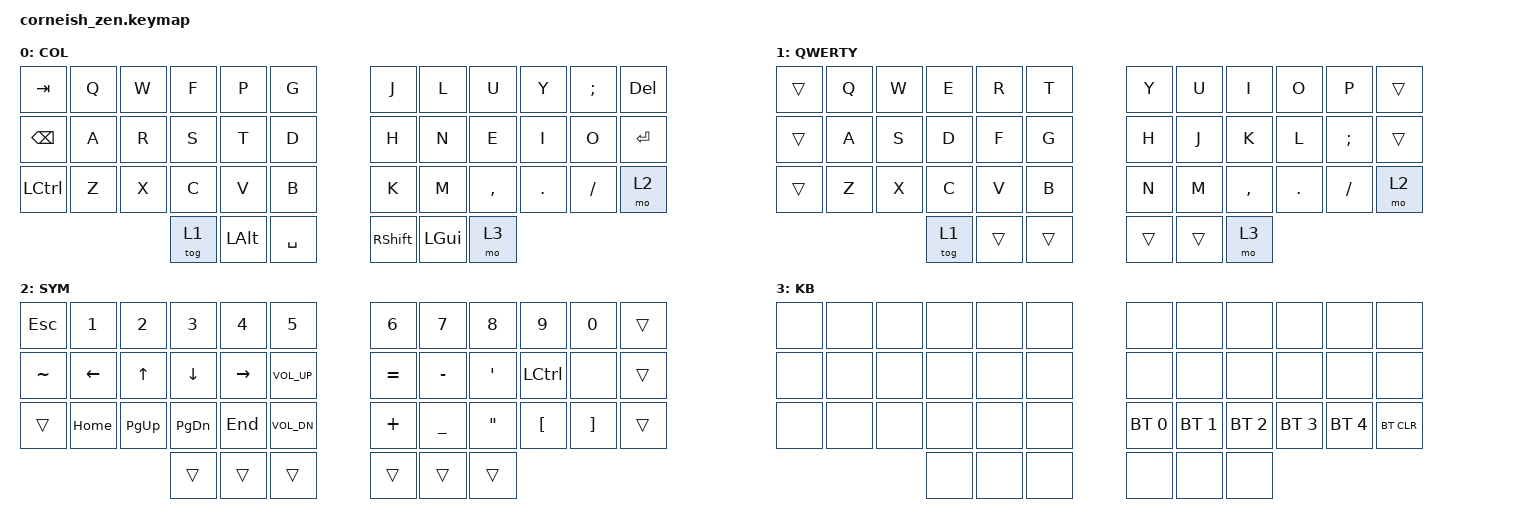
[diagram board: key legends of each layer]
/*
*
* Copyright (c) 2021 Darryl deHaan
* SPDX-License-Identifier: MIT
*
*/

#include <behaviors.dtsi>
#include <dt-bindings/zmk/keys.h>
#include <dt-bindings/zmk/bt.h>

/ {
    chosen {
        zmk,physical-layout = &foostan_corne_6col_layout;
        // zmk,physical-layout = &foostan_corne_5col_layout;
    };
};

/ {
        keymap {
                compatible = "zmk,keymap";

                default_layer {
                        label = "COL";
                        bindings = <
// ╭─────────────┬─────────────┬─────────────┬─────────────┬─────────────┬─────────────╮   ╭─────────────┬─────────────┬─────────────┬─────────────┬─────────────┬─────────────╮
    &kp TAB       &kp Q         &kp W         &kp F         &kp P         &kp G             &kp J         &kp L         &kp U         &kp Y         &kp SEMI      &kp DEL
// ├─────────────├─────────────┼─────────────┼─────────────┼─────────────┼─────────────┤   ├─────────────┼─────────────┼─────────────┼─────────────┼─────────────┤─────────────┤
    &kp BSPC      &kp A         &kp R         &kp S         &kp T         &kp D             &kp H         &kp N         &kp E         &kp I         &kp O         &kp RET
// ├─────────────├─────────────┼─────────────┼─────────────┼─────────────┼─────────────┤   ├─────────────┼─────────────┼─────────────┼─────────────┼─────────────┤─────────────┤
    &kp LCTRL     &kp Z         &kp X         &kp C         &kp V         &kp B             &kp K         &kp M         &kp COMMA     &kp DOT       &kp FSLH      &mo 2
// ╰─────────────┴─────────────┴─────────────┴─────────────┼─────────────┼─────────────┤   ├─────────────┼─────────────┼─────────────┴─────────────┴─────────────┤─────────────╯
                                              &tog 1        &kp LALT      &kp SPACE         &kp RSHIFT    &kp LGUI      &mo 3
//                                           ╰─────────────┴─────────────┴─────────────╯   ╰─────────────┴─────────────┴─────────────╯
                        >;
                };

                qwerty_layer {
                        label = "QWERTY";
                        bindings = <
// ╭─────────────┬─────────────┬─────────────┬─────────────┬─────────────┬─────────────╮   ╭─────────────┬─────────────┬─────────────┬─────────────┬─────────────┬─────────────╮
    &trans        &kp Q         &kp W         &kp E         &kp R         &kp T             &kp Y         &kp U         &kp I         &kp O         &kp P         &trans
// ├─────────────├─────────────┼─────────────┼─────────────┼─────────────┼─────────────┤   ├─────────────┼─────────────┼─────────────┼─────────────┼─────────────┤─────────────┤
    &trans        &kp A         &kp S         &kp D         &kp F         &kp G             &kp H         &kp J         &kp K         &kp L         &kp SEMI      &trans
// ├─────────────├─────────────┼─────────────┼─────────────┼─────────────┼─────────────┤   ├─────────────┼─────────────┼─────────────┼─────────────┼─────────────┤─────────────┤
    &trans        &kp Z         &kp X         &kp C         &kp V         &kp B             &kp N         &kp M         &kp COMMA     &kp DOT       &kp FSLH      &mo 2
// ╰─────────────┴─────────────┴─────────────┴─────────────┼─────────────┼─────────────┤   ├─────────────┼─────────────┼─────────────┴─────────────┴─────────────┤─────────────╯
                                              &tog 1        &trans        &trans            &trans        &trans        &mo 3
//                                           ╰─────────────┴─────────────┴─────────────╯   ╰─────────────┴─────────────┴─────────────╯
                        >;
                };

                symbol_layer {
                        label = "SYM";
                        bindings = <
// ╭─────────────┬─────────────┬─────────────┬─────────────┬─────────────┬─────────────╮   ╭─────────────┬─────────────┬─────────────┬─────────────┬─────────────┬─────────────╮
    &kp ESC       &kp N1        &kp N2        &kp N3        &kp N4        &kp N5            &kp N6        &kp N7        &kp N8        &kp N9        &kp N0        &trans
// ├─────────────├─────────────┼─────────────┼─────────────┼─────────────┼─────────────┤   ├─────────────┼─────────────┼─────────────┼─────────────┼─────────────┤─────────────┤
    &kp TILDE     &kp LEFT      &kp UP        &kp DOWN      &kp RIGHT     &kp C_VOL_UP      &kp EQUAL     &kp MINUS     &kp SQT       &kp LCTRL     &none         &trans
// ├─────────────├─────────────┼─────────────┼─────────────┼─────────────┼─────────────┤   ├─────────────┼─────────────┼─────────────┼─────────────┼─────────────┤─────────────┤
    &trans        &kp HOME      &kp PG_UP     &kp PG_DN     &kp END       &kp C_VOL_DN      &kp PLUS      &kp UNDER     &kp DQT       &kp LBKT      &kp RBKT      &trans
// ╰─────────────┴─────────────┴─────────────┴─────────────┼─────────────┼─────────────┤   ├─────────────┼─────────────┼─────────────┴─────────────┴─────────────┤─────────────╯
                                              &trans        &trans        &trans            &trans        &trans        &trans
//                                           ╰─────────────┴─────────────┴─────────────╯   ╰─────────────┴─────────────┴─────────────╯
                        >;
                };

                kb_layer {
                        label = "KB";
                        bindings = <
// ╭─────────────┬─────────────┬─────────────┬─────────────┬─────────────┬─────────────╮   ╭─────────────┬─────────────┬─────────────┬─────────────┬─────────────┬─────────────╮
    &none         &none         &none         &none         &none         &none             &none         &none         &none         &none         &none         &none
// ├─────────────├─────────────┼─────────────┼─────────────┼─────────────┼─────────────┤   ├─────────────┼─────────────┼─────────────┼─────────────┼─────────────┤─────────────┤
    &none         &none         &none         &none         &none         &none             &none         &none         &none         &none         &none         &none
// ├─────────────├─────────────┼─────────────┼─────────────┼─────────────┼─────────────┤   ├─────────────┼─────────────┼─────────────┼─────────────┼─────────────┤─────────────┤
    &none         &none         &none         &none         &none         &none             &bt BT_SEL 0  &bt BT_SEL 1  &bt BT_SEL 2  &bt BT_SEL 3  &bt BT_SEL 4  &bt BT_CLR
// ╰─────────────┴─────────────┴─────────────┴─────────────┼─────────────┼─────────────┤   ├─────────────┼─────────────┼─────────────┴─────────────┴─────────────┤─────────────╯
                                              &none         &none         &none             &none         &none         &none
//                                           ╰─────────────┴─────────────┴─────────────╯   ╰─────────────┴─────────────┴─────────────╯
                        >;
                };
        };
};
